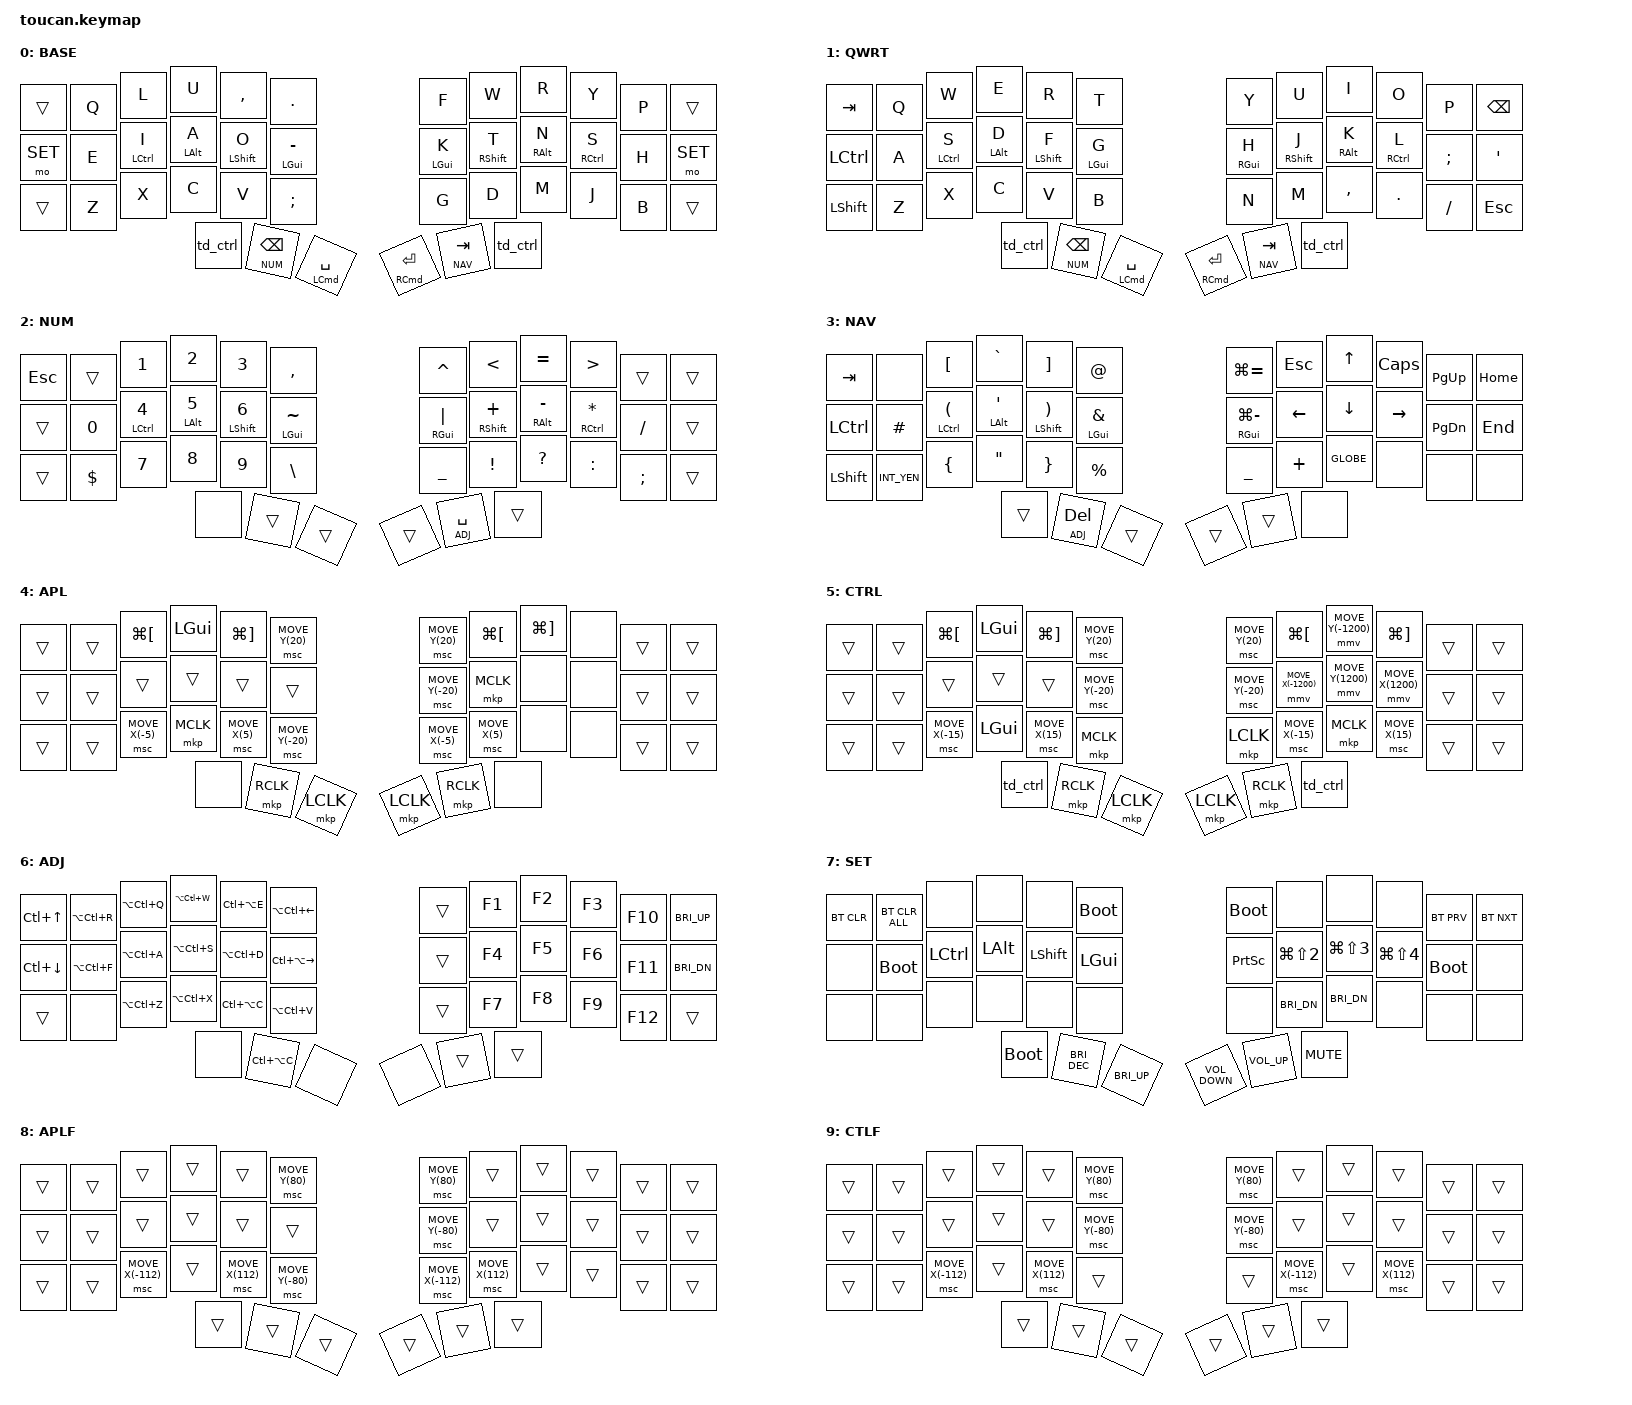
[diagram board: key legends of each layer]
#include <dt-bindings/zmk/mouse.h>
#include <behaviors.dtsi>
#include <dt-bindings/zmk/bt.h>
#include <dt-bindings/zmk/keys.h>
#include <dt-bindings/zmk/pointing.h>

#define BASE        0
#define QWRT        1
#define NUM         2
#define NAV         3
#define APL         4
#define CTRL        5
#define ADJ         6
#define SET         7
#define APL_FAST    8
#define CTRL_FAST   9

// quick-tap-ms: 二度押し時にタップキーが連続入力される設定

&lt { quick-tap-ms = <200>; };

/ {
    behaviors {
        hm: homerow_mods {
            compatible = "zmk,behavior-hold-tap";
            #binding-cells = <2>;
            tapping-term-ms = <225>;
            quick-tap-ms = <200>;
            require-prior-idle-ms = <150>;
            flavor = "tap-preferred";
            bindings = <&kp>, <&kp>;
        };

        // Ctrlレイヤー切り替え: 1回長押し=mo, 2回タップ=tog

        td_ctrl: tap_dance_ctrl {
            compatible = "zmk,behavior-tap-dance";
            #binding-cells = <0>;
            tapping-term-ms = <200>;
            bindings = <&mo CTRL>, <&tog CTRL>;
        };
    };

    conditional_layers { compatible = "zmk,conditional-layers"; };

    combos {
        compatible = "zmk,combos";

        combo-gui+space {
            bindings = <&kp LG(SPACE)>;
            key-positions = <16 37>;
        };

        combo-alt+space {
            bindings = <&kp LA(SPACE)>;
            key-positions = <19 40>;
        };

        combo-lang2 {
            bindings = <&kp LANG2>;
            key-positions = <3 2>;
        };

        combo-lang1 {
            bindings = <&kp LANG1>;
            key-positions = <8 9>;
        };

        to-base {
            bindings = <&to BASE>;
            key-positions = <0 1>;
        };

        unlock {
            bindings = <&studio_unlock>;
            key-positions = <0 1 10 11>;
        };

        to-qwerty {
            bindings = <&to QWRT>;
            key-positions = <11 10>;
        };

        combo-fast-scroll-y-main-apl {
            bindings = <&sl APL_FAST>;
            key-positions = <6 18>;
            layers = <APL>;
        };

        combo-fast-scroll-y-thumb-apl {
            bindings = <&sl APL_FAST>;
            key-positions = <5 29>;
            layers = <APL>;
        };

        combo-fast-scroll-x-main-apl {
            bindings = <&sl APL_FAST>;
            key-positions = <30 31>;
            layers = <APL>;
        };

        combo-fast-scroll-x-thumb-apl {
            bindings = <&sl APL_FAST>;
            key-positions = <26 28>;
            layers = <APL>;
        };

        combo-fast-scroll-y-main-ctrl {
            bindings = <&sl CTRL_FAST>;
            key-positions = <6 18>;
            layers = <CTRL>;
        };

        combo-fast-scroll-y-thumb-ctrl {
            bindings = <&sl CTRL_FAST>;
            key-positions = <5 17>;
            layers = <CTRL>;
        };

        combo-fast-scroll-x-main-ctrl {
            bindings = <&sl CTRL_FAST>;
            key-positions = <31 33>;
            layers = <CTRL>;
        };

        combo-fast-scroll-x-thumb-ctrl {
            bindings = <&sl CTRL_FAST>;
            key-positions = <26 28>;
            layers = <CTRL>;
        };
    };

    keymap {
        compatible = "zmk,keymap";

        base {
            display-name = "BASE";
            bindings = <
&trans  &kp Q  &kp L  &kp U  &kp COMMA  &kp PERIOD  &kp F  &kp W  &kp R  &kp Y  &kp P  &trans  &mo SET  &kp E  &hm LCTRL I  &hm LEFT_ALT A  &hm LEFT_SHIFT O  &hm LEFT_GUI MINUS  &hm LEFT_GUI K  &hm RSHIFT T  &hm RIGHT_ALT N  &hm RCTRL S  &kp H  &mo SET  &trans  &kp Z  &kp X  &kp C  &kp V  &kp SEMICOLON  &kp G  &kp D  &kp M  &kp J  &kp B  &trans  &td_ctrl  &lt NUM BACKSPACE  &hm LEFT_COMMAND SPACE  &hm RIGHT_COMMAND ENTER  &lt NAV TAB  &td_ctrl
            >;

            label = "BASE";
        };

        qwert {
            display-name = "QWRT";
            bindings = <
&kp TAB  &kp Q  &kp W  &kp E  &kp R  &kp T  &kp Y  &kp U  &kp I  &kp O  &kp P  &kp BSPC  &kp LCTRL  &kp A  &hm LCTRL S  &hm LALT D  &hm LSHIFT F  &hm LEFT_GUI G  &hm RIGHT_GUI H  &hm RSHIFT J  &hm RALT K  &hm RCTRL L  &kp SEMI  &kp SQT  &kp LSHFT  &kp Z  &kp X  &kp C  &kp V  &kp B  &kp N  &kp M  &kp COMMA  &kp DOT  &kp FSLH  &kp ESC  &td_ctrl  &lt NUM BACKSPACE  &hm LEFT_COMMAND SPACE  &hm RIGHT_COMMAND ENTER  &lt NAV TAB  &td_ctrl
            >;

            label = "QWRT";
        };

        num {
            display-name = "NUM";
            bindings = <
&kp ESCAPE  &trans  &kp NUMBER_1  &kp NUMBER_2  &kp NUMBER_3  &kp COMMA  &kp CARET  &kp LESS_THAN  &kp EQUAL  &kp GREATER_THAN  &trans  &trans  &trans  &kp NUMBER_0  &hm LCTRL NUMBER_4  &hm LALT NUMBER_5  &hm LSHIFT NUMBER_6  &hm LEFT_GUI TILDE  &hm RIGHT_GUI PIPE  &hm RSHIFT PLUS  &hm RALT MINUS  &hm RCTRL ASTERISK  &kp SLASH  &trans  &trans  &kp DOLLAR  &kp NUMBER_7  &kp NUMBER_8  &kp NUMBER_9  &kp BACKSLASH  &kp UNDERSCORE  &kp EXCLAMATION  &kp QUESTION  &kp COLON  &kp SEMICOLON  &trans  &none  &trans  &trans  &trans  &lt ADJ SPACE  &trans
            >;

            label = "NUM";
        };

        nav {
            display-name = "NAV";
            bindings = <
&kp TAB  &none  &kp LEFT_BRACKET  &kp GRAVE  &kp RIGHT_BRACKET  &kp AT_SIGN  &kp LG(EQUAL)  &kp ESCAPE  &kp UP_ARROW  &kp CAPS  &kp PG_UP  &kp HOME  &kp LCTRL  &kp HASH  &hm LCTRL LEFT_PARENTHESIS  &hm LEFT_ALT SQT  &hm LSHIFT RIGHT_PARENTHESIS  &hm LEFT_GUI AMPERSAND  &hm RIGHT_GUI LG(MINUS)  &kp LEFT_ARROW  &kp DOWN  &kp RIGHT  &kp PAGE_DOWN  &kp END  &kp LSHFT  &kp INT_YEN  &kp LEFT_BRACE  &kp DOUBLE_QUOTES  &kp RIGHT_BRACE  &kp PERCENT  &kp UNDER  &kp PLUS  &kp GLOBE  &none  &none  &none  &trans  &lt ADJ DELETE  &trans  &trans  &trans  &none
            >;

            label = "NAV";
        };

        apl {
            display-name = "APL";
            label = "APL";
            bindings = <
&trans  &trans  &kp LG(LEFT_BRACKET)  &kp LEFT_GUI  &kp LG(RIGHT_BRACKET)  &msc MOVE_Y(20)  &msc MOVE_Y(20)  &kp LG(LEFT_BRACKET)  &kp LG(RIGHT_BRACKET)  &none  &trans  &trans  &trans  &trans  &trans  &trans  &trans  &trans  &msc MOVE_Y(-20)  &mkp MCLK  &none  &none  &trans  &trans  &trans  &trans  &msc MOVE_X(-5)  &mkp MCLK  &msc MOVE_X(5)  &msc MOVE_Y(-20)  &msc MOVE_X(-5)  &msc MOVE_X(5)  &none  &none  &trans  &trans  &none  &mkp RCLK  &mkp LCLK  &mkp LCLK  &mkp RCLK  &none
            >;
        };

        ctrl {
            display-name = "CTRL";
            bindings = <
&trans  &trans  &kp LG(LEFT_BRACKET)  &kp LEFT_GUI  &kp LG(RIGHT_BRACKET)  &msc MOVE_Y(20)  &msc MOVE_Y(20)  &kp LG(LEFT_BRACKET)  &mmv MOVE_Y(-1200)  &kp LG(RIGHT_BRACKET)  &trans  &trans  &trans  &trans  &trans  &trans  &trans  &msc MOVE_Y(-20)  &msc MOVE_Y(-20)  &mmv MOVE_X(-1200)  &mmv MOVE_Y(1200)  &mmv MOVE_X(1200)  &trans  &trans  &trans  &trans  &msc MOVE_X(-15)  &kp LEFT_GUI  &msc MOVE_X(15)  &mkp MCLK  &mkp LCLK  &msc MOVE_X(-15)  &mkp MCLK  &msc MOVE_X(15)  &trans  &trans  &td_ctrl  &mkp RCLK  &mkp LCLK  &mkp LCLK  &mkp RCLK  &td_ctrl
            >;

            label = "CTRL";
        };

        adj {
            display-name = "ADJ";
            label = "ADJ";
            bindings = <
&kp LC(UP_ARROW)  &kp LA(LC(R))  &kp LA(LC(Q))  &kp LA(LC(W))  &kp LC(LA(E))  &kp LA(LC(LEFT_ARROW))  &trans  &kp F1  &kp F2  &kp F3  &kp F10  &kp C_BRI_UP  &kp LC(DOWN_ARROW)  &kp LA(LC(F))  &kp LA(LC(A))  &kp LA(LC(S))  &kp LA(LC(D))  &kp LC(LA(RIGHT))  &trans  &kp F4  &kp F5  &kp F6  &kp F11  &kp C_BRI_DN  &trans  &none  &kp LA(LC(Z))  &kp LA(LC(X))  &kp LC(LA(C))  &kp LA(LC(V))  &trans  &kp F7  &kp F8  &kp F9  &kp F12  &trans  &none  &kp LC(LA(C))  &none  &none  &trans  &trans
            >;
        };

        setting {
            display-name = "SET";
            bindings = <
&bt BT_CLR  &bt BT_CLR_ALL  &none  &none  &none  &bootloader  &bootloader  &none  &none  &none  &bt BT_PRV  &bt BT_NXT  &none  &bootloader  &kp LCTRL  &kp LEFT_ALT  &kp LEFT_SHIFT  &kp LEFT_GUI  &kp PRINTSCREEN  &kp LG(LS(NUMBER_2))  &kp LG(LS(NUMBER_3))  &kp LG(LS(NUMBER_4))  &bootloader  &none  &none  &none  &none  &none  &none  &none  &none  &kp C_BRI_DN  &kp C_BRI_DN  &none  &none  &none  &bootloader  &kp C_BRI_DEC  &kp C_BRI_UP  &kp C_VOLUME_DOWN  &kp C_VOLUME_UP  &kp K_MUTE
            >;

            label = "SET";
        };

        apl_fast {
            display-name = "APLF";
            label = "APLF";
            bindings = <
&trans  &trans  &trans  &trans  &trans  &msc MOVE_Y(80)  &msc MOVE_Y(80)  &trans  &trans  &trans  &trans  &trans  &trans  &trans  &trans  &trans  &trans  &trans  &msc MOVE_Y(-80)  &trans  &trans  &trans  &trans  &trans  &trans  &trans  &msc MOVE_X(-112)  &trans  &msc MOVE_X(112)  &msc MOVE_Y(-80)  &msc MOVE_X(-112)  &msc MOVE_X(112)  &trans  &trans  &trans  &trans  &trans  &trans  &trans  &trans  &trans  &trans
            >;
        };

        ctrl_fast {
            display-name = "CTLF";
            label = "CTLF";
            bindings = <
&trans  &trans  &trans  &trans  &trans  &msc MOVE_Y(80)  &msc MOVE_Y(80)  &trans  &trans  &trans  &trans  &trans  &trans  &trans  &trans  &trans  &trans  &msc MOVE_Y(-80)  &msc MOVE_Y(-80)  &trans  &trans  &trans  &trans  &trans  &trans  &trans  &msc MOVE_X(-112)  &trans  &msc MOVE_X(112)  &trans  &trans  &msc MOVE_X(-112)  &trans  &msc MOVE_X(112)  &trans  &trans  &trans  &trans  &trans  &trans  &trans  &trans
            >;
        };
    };
};
